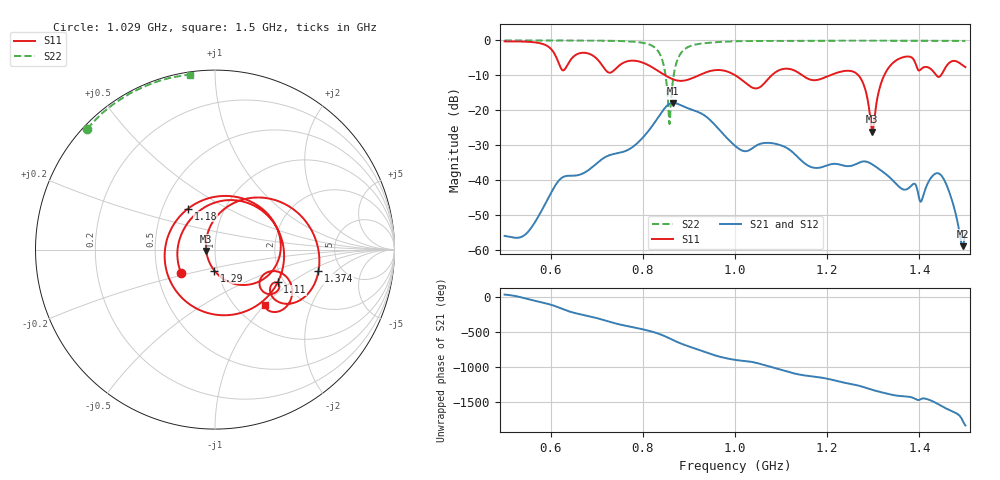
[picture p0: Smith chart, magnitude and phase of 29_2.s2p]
! TOUCHSTONE file generated by CST MICROWAVE STUDIO
! Date and time: Thu Feb 11 19:34:54 2021
! Project name: Scenario_1_Planar_Body_Tissue_Out_of_Line.cst
! Parameters = {L_HA=400; Ltissue=1000; MT=2.54; Rad_Dielectric=30; Rad_Lower=7.3; Rad_Upper=30; Wtissue=1000; a_HA=580; a_WG=246; b_HA=500; b_WG=121; c_HA=0; c_WG=187; d_feed=85; dx1=346; dy1=138.4; h_feed=15; h_lower=18; h_upper=40; hfat=3; hgap=25; hmuscle=50; hskin=1.5}
! Header version: 2018
! Port assignment regex: !\s*Touchstone port\s*([0-9]+)\s*=\s*(CST MWS port|CST DS port)\s*([0-9]+|Zmin|Zmax)\s*\(\"(.*)\"\)(\s*mode\s*([0-9]+))?.*
! Touchstone port assignment:
! Touchstone port 1 = CST MWS port 1 ("")
! Touchstone port 2 = CST MWS port 2 ("")
# GHz S DB R 50
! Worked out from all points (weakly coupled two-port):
!   1003 points, 500 MHz to 1.5 GHz, reference 50 ohm
!   highest |S21| = -17.89 dB at 866 MHz (marker M1); lowest = -58.9 dB at 1.494 GHz (marker M2)
!   lowest |S11| = -26.1 dB at 1.298 GHz (marker M3), VSWR 1.10, Z = 45.3 - j0.68 ohm
!   |S11| at or under -10 dB: 848.5 MHz to 921.1 MHz (72.61 MHz wide, 8.21 % of centre); 1.001 GHz to 1.08 GHz (78.95 MHz wide, 7.59 % of centre); 1.146 GHz to 1.206 GHz (59.78 MHz wide, 5.08 % of centre) (the widest 3 of 5)
!   |S22| runs from -24.0 to 0.0 dB; largest |S21 - S12| = 1.4e-05
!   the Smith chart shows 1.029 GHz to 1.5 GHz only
!   S11 on the Smith chart (normalised r, x): 1.029 GHz: 0.66, -0.18; 1.11 GHz: 1.85, -0.80; 1.18 GHz: 0.67, +0.33; 1.29 GHz: 0.97, -0.23; 1.374 GHz: 3.37, -1.24; 1.5 GHz: 1.34, -1.00
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0.5  -0.27 -121.5  -55.97 29.9  -55.97 29.9  -0.01 151.1
0.667  -3.57 155.9  -38.26 105.6  -38.26 105.6  -0.04 138.4
0.716  -7.93 26.1  -33.59 25.9  -33.59 25.9  -0.09 132.8
0.74  -8.25 -96.0  -32.43 -19.1  -32.43 -19.1  -0.14 129.2
0.768  -5.92 177.2  -31.32 -60.3  -31.32 -60.3  -0.26 123.6
0.834  -8.82 26.6  -21.87 -166.0  -21.87 -166.0  -3.24 83.8
0.857  -10.62 -36.7  -18.23 129.6  -18.23 129.6  -23.08 -19.7
0.866  -11.15 -64.0  -17.89 101.0  -17.89 101.0  -10.71 -142.7
0.939  -9.04 81.8  -21.98 -77.0  -21.98 -77.0  -0.73 151.5
1  -9.95 -66.5  -30.17 -177.9  -30.17 -177.9  -0.24 140.4
1.029  -12.81 -145.7  -31.54 160.3  -31.54 160.3  -0.18 136.6
1.074  -10.74 71.9  -29.33 89.4  -29.33 89.4  -0.14 132.1
1.11  -8.09 -27.6  -30.61 22.5  -30.61 22.5  -0.12 128.8
1.167  -11.34 160.2  -36.32 -52.3  -36.32 -52.3  -0.10 124.2
1.18  -11.27 123.3  -36.49 -63.0  -36.49 -63.0  -0.10 123.2
1.29  -18.63 -91.7  -34.93 132.0  -34.93 132.0  -0.09 114.9
1.298  -26.13 -171.3  -35.50 116.1  -35.50 116.1  -0.09 114.3
1.334  -7.71 43.9  -39.00 56.2  -39.00 56.2  -0.08 111.6
1.374  -4.60 -11.8  -42.54 20.8  -42.54 20.8  -0.09 108.4
1.446  -10.14 -25.0  -38.43 -105.1  -38.43 -105.1  -0.11 102.6
1.494  -7.13 -49.0  -58.91 39.1  -58.93 39.2  -0.13 98.5
1.5  -7.64 -48.0  -55.12 -29.2  -55.12 -29.2  -0.13 98.0
